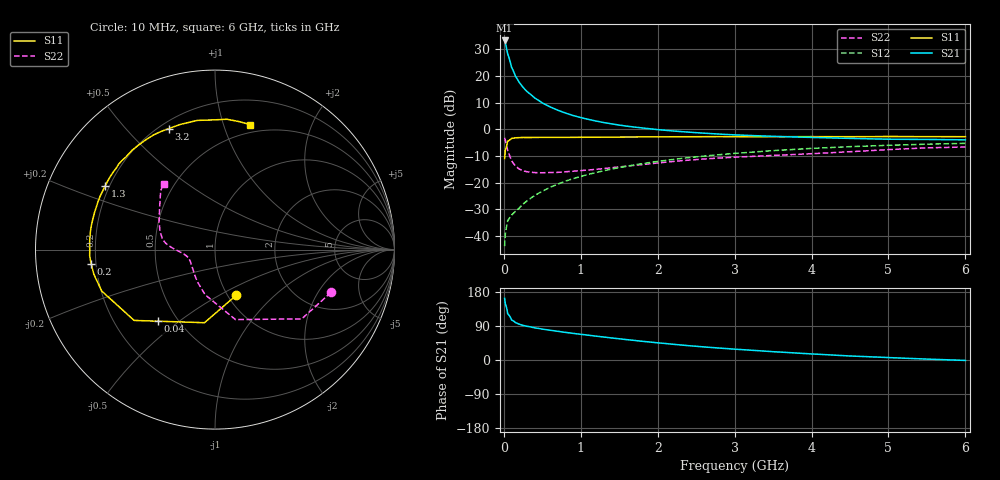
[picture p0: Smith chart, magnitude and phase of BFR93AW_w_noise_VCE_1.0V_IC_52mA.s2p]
! Infineon Technologies  Discrete & RF Semiconductors
! BFR93AW
! VCE =  1.0 V,  IC =  52 mA
! Common Emitter S-Parameters:  Jan 2017
# GHz  S  MA  R  50
!  f  S11  S21  S12  S22
! GHz  MAG  ANG  MAG  ANG  MAG  ANG  MAG  ANG
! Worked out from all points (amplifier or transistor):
!   77 points, 10 MHz to 6 GHz, reference 50 ohm
!   highest |S21| = 33.3 dB at 10 MHz (marker M1)
!   |S21| within 3 dB of that: start of sweep to 35.28 MHz
!   unconditionally stable (mu >= 1): 151.9 MHz to end of sweep
!   at 130 MHz: K = 0.91, MSG = 26.4 dB, |S12| = -31.4 dB
!   at 2.2 GHz: K = 1.18, MAG = 2.8 dB, |S12| = -11.4 dB
!   at 6 GHz: K = 1.04, MAG = -0.6 dB, |S12| = -5.3 dB
!   lowest NFmin = 2.34 dB at 450 MHz
!   S11 on the Smith chart (normalised r, x): 10 MHz: 1.09, -0.60; 40 MHz: 0.39, -0.42; 200 MHz: 0.18, -0.05; 1.3 GHz: 0.18, +0.26; 3.2 GHz: 0.24, +0.66; 6 GHz: 0.42, +1.23
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0.01  0.2809 -65.3  46.09 162.7  0.0064 65.9  0.6889 -20.3
0.02  0.4116 -98.2  41.39 148.2  0.011 60.3  0.6184 -38.6
0.04  0.5113 -128.7  30.23 133.6  0.0163 50.7  0.4552 -58.6
0.05  0.5989 -138.8  25.85 122.0  0.0191 47.9  0.4063 -73.7
0.1  0.6721 -159.9  14.57 105.8  0.0244 48.4  0.2572 -102.4
0.15  0.6888 -168.5  9.98 98.8  0.0287 52.1  0.2037 -119.0
0.2  0.6947 -173.5  7.556 94.5  0.0332 57.2  0.1791 -129.7
0.25  0.6991 -177.2  6.08 91.3  0.0395 59.7  0.1656 -137.5
0.3  0.6978 -180.0  5.085 89.0  0.0451 62.1  0.1594 -143.5
0.4  0.7001 175.8  3.856 84.9  0.0568 65.7  0.1534 -151.3
0.5  0.7014 171.8  3.109 81.6  0.0685 67.1  0.1523 -156.6
0.6  0.7018 168.6  2.622 78.5  0.0811 67.9  0.1537 -160.5
0.7  0.7015 165.7  2.271 75.8  0.0931 68.6  0.1548 -163.3
0.9  0.7026 160.1  1.804 70.3  0.1181 67.8  0.1626 -167.3
1.1  0.706 154.8  1.526 65.4  0.1423 66.7  0.1717 -170.7
1.3  0.7075 149.8  1.33 60.6  0.1661 64.9  0.1828 -173.5
2.1  0.718 131.9  0.953 43.5  0.2594 56.1  0.24 177.5
3.1  0.7222 112.8  0.772 27.3  0.3601 43.8  0.3028 167.2
3.2  0.7215 111.0  0.762 26.0  0.3689 42.5  0.3073 165.8
4.1  0.7249 96.4  0.695 15.0  0.4427 31.7  0.3526 151.9
5.1  0.728 83.7  0.647 5.6  0.5033 20.1  0.4202 136.6
6  0.723 74.2  0.631 -1.1  0.5432 10.7  0.4631 128.1
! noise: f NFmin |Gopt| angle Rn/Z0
0.45  2.34  0.27  -177  0.18
0.9  2.64  0.32  -166  0.18
1.9  3.79  0.54  -132  0.44
2.4  4.52  0.58  -122  0.81
